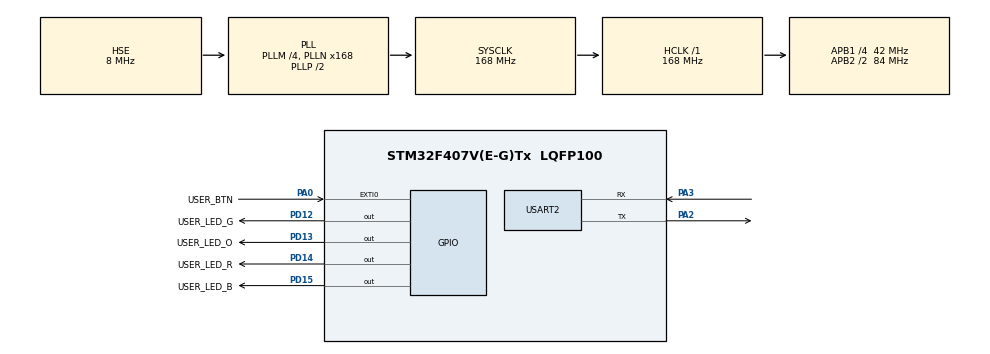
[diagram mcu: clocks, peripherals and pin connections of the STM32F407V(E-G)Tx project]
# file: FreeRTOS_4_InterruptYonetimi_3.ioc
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FREERTOS.INCLUDE_vTaskDelayUntil=1
FREERTOS.INCLUDE_xTimerPendFunctionCall=1
FREERTOS.Tasks01=IntGenerator,0,128,vIntGenerator,Default,NULL,Dynamic,NULL,NULL;StrGenerator,0,128,vStrGenerator,Default,NULL,Dynamic,NULL,NULL
FREERTOS.configTIMER_QUEUE_LENGTH=2
FREERTOS.configUSE_COUNTING_SEMAPHORES=0
FREERTOS.configUSE_TIMERS=1
Mcu.Family=STM32F4
Mcu.Name=STM32F407V(E-G)Tx
Mcu.Package=LQFP100
NVIC.EXTI0_IRQn=true\:5\:0\:true\:false\:false\:false\:true\:false
NVIC.PriorityGroup=NVIC_PRIORITYGROUP_4
NVIC.TIM1_UP_TIM10_IRQn=true\:0\:0\:false\:false\:true\:false\:false\:true
NVIC.TimeBase=TIM1_UP_TIM10_IRQn
NVIC.TimeBaseIP=TIM1
PA0-WKUP.GPIO_Label=USER_BTN
PA0-WKUP.GPIO_PuPd=GPIO_PULLDOWN
PA0-WKUP.Signal=GPXTI0
PA2.Mode=Asynchronous
PA2.Signal=USART2_TX
PA3.Mode=Asynchronous
PA3.Signal=USART2_RX
PD12.GPIO_Label=USER_LED_G
PD12.Signal=GPIO_Output
PD13.GPIO_Label=USER_LED_O
PD13.Signal=GPIO_Output
PD14.GPIO_Label=USER_LED_R
PD14.Signal=GPIO_Output
PD15.GPIO_Label=USER_LED_B
PD15.Signal=GPIO_Output
PH0-OSC_IN.Mode=HSE-External-Oscillator
PH0-OSC_IN.Signal=RCC_OSC_IN
PH1-OSC_OUT.Mode=HSE-External-Oscillator
PH1-OSC_OUT.Signal=RCC_OSC_OUT
ProjectManager.HeapSize=0x200
ProjectManager.StackSize=0x400
ProjectManager.TargetToolchain=STM32CubeIDE
RCC.48MHZClocksFreq_Value=84000000
RCC.AHBFreq_Value=168000000
RCC.APB1CLKDivider=RCC_HCLK_DIV4
RCC.APB1Freq_Value=42000000
RCC.APB1TimFreq_Value=84000000
RCC.APB2CLKDivider=RCC_HCLK_DIV2
RCC.APB2Freq_Value=84000000
RCC.APB2TimFreq_Value=168000000
RCC.CortexFreq_Value=168000000
RCC.HCLKFreq_Value=168000000
RCC.HSE_VALUE=8000000
RCC.HSI_VALUE=16000000
RCC.LSE_VALUE=32768
RCC.PLLM=4
RCC.PLLN=168
RCC.PLLSourceVirtual=RCC_PLLSOURCE_HSE
RCC.SYSCLKFreq_VALUE=168000000
RCC.SYSCLKSource=RCC_SYSCLKSOURCE_PLLCLK
RCC.VCOOutputFreq_Value=336000000
USART2.VirtualMode=VM_ASYNC
VP_FREERTOS_VS_CMSIS_V1.Mode=CMSIS_V1
VP_SYS_VS_tim1.Mode=TIM1
board=custom

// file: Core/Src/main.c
/* USER CODE BEGIN Header */
/**
  ******************************************************************************
  * @file           : main.c
  * @brief          : Main program body
  ******************************************************************************
  * @attention
  *
  * <h2><center>&copy; Copyright (c) 2020 STMicroelectronics.
  * All rights reserved.</center></h2>
  *
  * This software component is licensed by ST under BSD 3-Clause license,
  * the "License"; You may not use this file except in compliance with the
  * License. You may obtain a copy of the License at:
  *                        opensource.org/licenses/BSD-3-Clause
  *
  ******************************************************************************
  */
/* USER CODE END Header */
#include "main.h"
#include "cmsis_os.h"

/* USER CODE BEGIN Includes */
#include "string.h"
#include "stdio.h"
/* USER CODE END Includes */

UART_HandleTypeDef huart2;

osThreadId IntGeneratorHandle;
osThreadId StrGeneratorHandle;
/* USER CODE BEGIN PV */
QueueHandle_t xIntegerQueue;
QueueHandle_t xStringQueue;
/* USER CODE END PV */

void SystemClock_Config(void);
static void MX_GPIO_Init(void);
static void MX_USART2_UART_Init(void);
void vIntGenerator(void const * argument);
void vStrGenerator(void const * argument);

/* USER CODE BEGIN PFP */
void UartPrint(char* message);
/* USER CODE END PFP */

int main(void)
{

  /* MCU Configuration--------------------------------------------------------*/

  /* Reset of all peripherals, Initializes the Flash interface and the Systick. */
  HAL_Init();

  /* Configure the system clock */
  SystemClock_Config();

  /* Initialize all configured peripherals */
  MX_GPIO_Init();
  MX_USART2_UART_Init();

  /* USER CODE BEGIN RTOS_QUEUES */

  xIntegerQueue = xQueueCreate(10, sizeof(uint32_t));
  xStringQueue 	= xQueueCreate(10, sizeof(char*));

  /* add queues, ... */
  /* USER CODE END RTOS_QUEUES */

  /* Create the thread(s) */
  /* definition and creation of IntGenerator */
  osThreadDef(IntGenerator, vIntGenerator, osPriorityNormal, 0, 128);
  IntGeneratorHandle = osThreadCreate(osThread(IntGenerator), NULL);

  /* definition and creation of StrGenerator */
  osThreadDef(StrGenerator, vStrGenerator, osPriorityAboveNormal, 0, 128);
  StrGeneratorHandle = osThreadCreate(osThread(StrGenerator), NULL);

  /* Start scheduler */
  osKernelStart();

  /* We should never get here as control is now taken by the scheduler */
  /* Infinite loop */
  while (1)
  {

  }
}

void SystemClock_Config(void)
{
  RCC_OscInitTypeDef RCC_OscInitStruct = {0};
  RCC_ClkInitTypeDef RCC_ClkInitStruct = {0};

  /** Configure the main internal regulator output voltage
  */
  __HAL_RCC_PWR_CLK_ENABLE();
  __HAL_PWR_VOLTAGESCALING_CONFIG(PWR_REGULATOR_VOLTAGE_SCALE1);
  /** Initializes the RCC Oscillators according to the specified parameters
  * in the RCC_OscInitTypeDef structure.
  */
  RCC_OscInitStruct.OscillatorType = RCC_OSCILLATORTYPE_HSE;
  RCC_OscInitStruct.HSEState = RCC_HSE_ON;
  RCC_OscInitStruct.PLL.PLLState = RCC_PLL_ON;
  RCC_OscInitStruct.PLL.PLLSource = RCC_PLLSOURCE_HSE;
  RCC_OscInitStruct.PLL.PLLM = 4;
  RCC_OscInitStruct.PLL.PLLN = 168;
  RCC_OscInitStruct.PLL.PLLP = RCC_PLLP_DIV2;
  RCC_OscInitStruct.PLL.PLLQ = 4;
  if (HAL_RCC_OscConfig(&RCC_OscInitStruct) != HAL_OK)
  {
    Error_Handler();
  }
  /** Initializes the CPU, AHB and APB buses clocks
  */
  RCC_ClkInitStruct.ClockType = RCC_CLOCKTYPE_HCLK|RCC_CLOCKTYPE_SYSCLK
                              |RCC_CLOCKTYPE_PCLK1|RCC_CLOCKTYPE_PCLK2;
  RCC_ClkInitStruct.SYSCLKSource = RCC_SYSCLKSOURCE_PLLCLK;
  RCC_ClkInitStruct.AHBCLKDivider = RCC_SYSCLK_DIV1;
  RCC_ClkInitStruct.APB1CLKDivider = RCC_HCLK_DIV4;
  RCC_ClkInitStruct.APB2CLKDivider = RCC_HCLK_DIV2;

  if (HAL_RCC_ClockConfig(&RCC_ClkInitStruct, FLASH_LATENCY_5) != HAL_OK)
  {
    Error_Handler();
  }
}

static void MX_USART2_UART_Init(void)
{

  huart2.Instance = USART2;
  huart2.Init.BaudRate = 115200;
  huart2.Init.WordLength = UART_WORDLENGTH_8B;
  huart2.Init.StopBits = UART_STOPBITS_1;
  huart2.Init.Parity = UART_PARITY_NONE;
  huart2.Init.Mode = UART_MODE_TX_RX;
  huart2.Init.HwFlowCtl = UART_HWCONTROL_NONE;
  huart2.Init.OverSampling = UART_OVERSAMPLING_16;
  if (HAL_UART_Init(&huart2) != HAL_OK)
  {
    Error_Handler();
  }

}

static void MX_GPIO_Init(void)
{
  GPIO_InitTypeDef GPIO_InitStruct = {0};

  /* GPIO Ports Clock Enable */
  __HAL_RCC_GPIOH_CLK_ENABLE();
  __HAL_RCC_GPIOA_CLK_ENABLE();
  __HAL_RCC_GPIOD_CLK_ENABLE();

  /*Configure GPIO pin Output Level */
  HAL_GPIO_WritePin(GPIOD, USER_LED_G_Pin|USER_LED_O_Pin|USER_LED_R_Pin|USER_LED_B_Pin, GPIO_PIN_RESET);

  /*Configure GPIO pin : USER_BTN_Pin */
  GPIO_InitStruct.Pin = USER_BTN_Pin;
  GPIO_InitStruct.Mode = GPIO_MODE_IT_RISING;
  GPIO_InitStruct.Pull = GPIO_PULLDOWN;
  HAL_GPIO_Init(USER_BTN_GPIO_Port, &GPIO_InitStruct);

  /*Configure GPIO pins : USER_LED_G_Pin USER_LED_O_Pin USER_LED_R_Pin USER_LED_B_Pin */
  GPIO_InitStruct.Pin = USER_LED_G_Pin|USER_LED_O_Pin|USER_LED_R_Pin|USER_LED_B_Pin;
  GPIO_InitStruct.Mode = GPIO_MODE_OUTPUT_PP;
  GPIO_InitStruct.Pull = GPIO_NOPULL;
  GPIO_InitStruct.Speed = GPIO_SPEED_FREQ_LOW;
  HAL_GPIO_Init(GPIOD, &GPIO_InitStruct);

  /* EXTI interrupt init*/
  HAL_NVIC_SetPriority(EXTI0_IRQn, 5, 0);
  HAL_NVIC_EnableIRQ(EXTI0_IRQn);

}

/* USER CODE BEGIN 4 */
void EXTI0_IRQHandler(void)
{
	uint32_t ulReceivedNumber;

	static const char *pcStrings[] =
	{
	"String 0\r\n",
	"String 1\r\n",
	"String 2\r\n",
	"String 3\r\n"
	};

	if(__HAL_GPIO_EXTI_GET_IT(GPIO_PIN_0) != 0)
	{
		BaseType_t xHigherPriorityTaskWoken = pdFALSE;
		UartPrint("ISR is running...\r\n");

		while( xQueueReceiveFromISR( xIntegerQueue, &ulReceivedNumber, &xHigherPriorityTaskWoken ) != errQUEUE_EMPTY )
		{
			ulReceivedNumber &= 0x03;
			xQueueSendToBackFromISR( xStringQueue,&pcStrings[ ulReceivedNumber ],&xHigherPriorityTaskWoken );
		}

		__HAL_GPIO_EXTI_CLEAR_IT(GPIO_PIN_0);
		portYIELD_FROM_ISR( xHigherPriorityTaskWoken );
	}

}

void UartPrint(char* message)
{
	HAL_UART_Transmit(&huart2, (uint8_t*)message, strlen(message), 20);
}
/* USER CODE END 4 */

void vIntGenerator(void const * argument)
{
  /* USER CODE BEGIN 5 */
	TickType_t xLastExecutionTime;
	uint32_t ulValueToSend = 0;

	xLastExecutionTime = xTaskGetTickCount();

  /* Infinite loop */
  for(;;)
  {

	  vTaskDelayUntil( &xLastExecutionTime, pdMS_TO_TICKS( 200 ) );

	  for( uint32_t i = 0; i < 5; i++ )
	  {
		  xQueueSendToBack( xIntegerQueue, &ulValueToSend, 0 );
		  ulValueToSend++;
	  }

  }
  /* USER CODE END 5 */
}

void vStrGenerator(void const * argument)
{
  /* USER CODE BEGIN vStrGenerator */
  /* Infinite loop */
  for(;;)
  {
	  char *pcString;

	  for( ;; )
	  {

		  xQueueReceive( xStringQueue, &pcString, portMAX_DELAY );
		  /* Print out the string received. */
		  UartPrint( pcString );
	  }
  }
  /* USER CODE END vStrGenerator */
}

void HAL_TIM_PeriodElapsedCallback(TIM_HandleTypeDef *htim)
{
  if (htim->Instance == TIM1) {
    HAL_IncTick();
  }
}

void Error_Handler(void)
{
}

/************************ (C) COPYRIGHT STMicroelectronics *****END OF FILE****/
